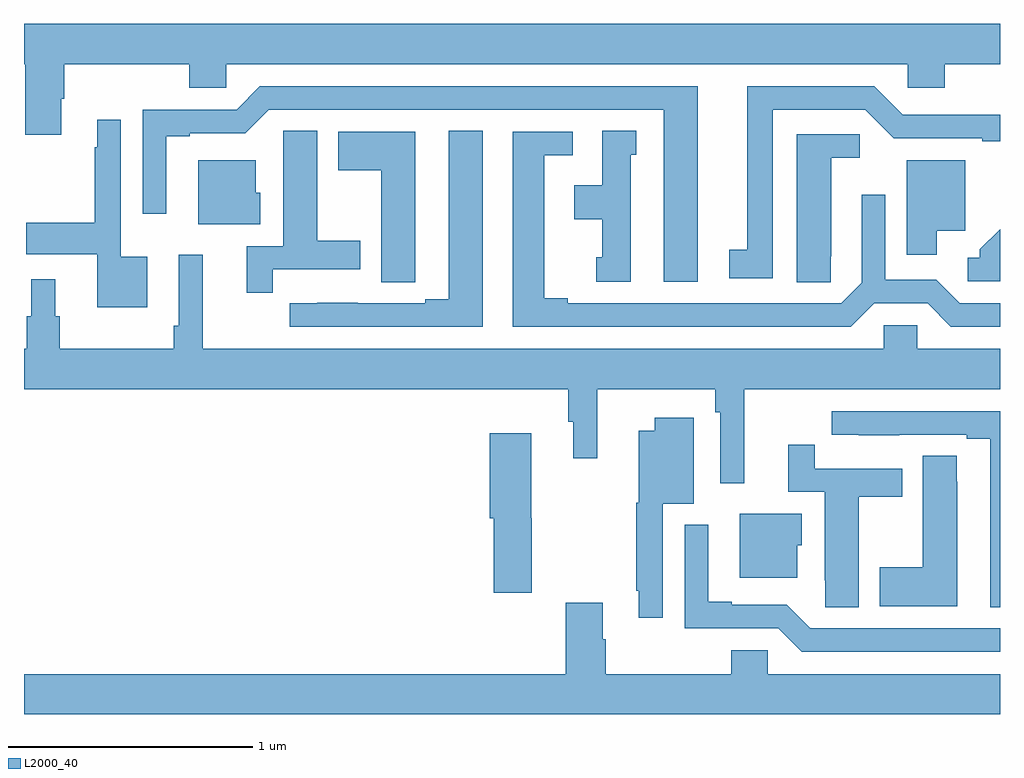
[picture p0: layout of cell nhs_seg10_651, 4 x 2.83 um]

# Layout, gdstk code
import gdstk
lib = gdstk.Library(unit=1e-6, precision=1e-09)
def P(c, l, *ps):  # polygons
    for p in ps: c.add(gdstk.Polygon(p, *l))
L2000_40 = (2000, 40)

nhs_seg10_651 = lib.new_cell('nhs_seg10_651')
P(nhs_seg10_651, L2000_40, [(143.152,1284.19),(143.165,1284.19),(143.165,1284.332),(143.678,1284.332),(143.678,1284.234),(143.829,1284.234),(143.829,1284.332),(146.622,1284.332),(146.622,1284.234),(146.774,1284.234),(146.774,1284.332),(147,1284.332),(147,1284.496),(143,1284.496),(143,1284.332),(143.005,1284.332),(143.005,1284.042),(143.152,1284.042)],
  [(145.762,1284.24),(143.967,1284.24),(143.871,1284.144),(143.487,1284.144),(143.487,1283.718),(143.584,1283.718),(143.584,1284.036),(143.68,1284.036),(143.68,1284.048),(143.907,1284.048),(144.003,1284.144),(145.622,1284.144),(145.622,1283.439),(145.762,1283.439)],
  [(146.068,1284.144),(146.448,1284.144),(146.565,1284.027),(146.927,1284.027),(146.927,1284.015),(147,1284.015),(147,1284.125),(146.857,1284.125),(146.857,1284.123),(146.601,1284.123),(146.484,1284.24),(145.964,1284.24),(145.964,1283.57),(145.89,1283.57),(145.89,1283.454),(146.068,1283.454)],
  [(143.506,1283.542),(143.397,1283.542),(143.397,1284.103),(143.3,1284.103),(143.3,1283.99),(143.289,1283.99),(143.289,1283.682),(143.01,1283.682),(143.01,1283.552),(143.3,1283.552),(143.3,1283.336),(143.506,1283.336)],
  [(145.486,1283.961),(145.51,1283.961),(145.51,1284.059),(145.37,1284.059),(145.37,1283.836),(145.256,1283.836),(145.256,1283.696),(145.37,1283.696),(145.37,1283.541),(145.346,1283.541),(145.346,1283.439),(145.486,1283.439)],
  [(144.88,1284.059),(144.74,1284.059),(144.74,1283.367),(144.644,1283.367),(144.644,1283.352),(144.368,1283.352),(144.368,1283.353),(144.202,1283.353),(144.202,1283.352),(144.09,1283.352),(144.09,1283.256),(144.88,1283.256)],
  [(144.02,1283.49),(144.379,1283.49),(144.379,1283.607),(144.202,1283.607),(144.202,1284.059),(144.063,1284.059),(144.063,1283.948),(144.062,1283.948),(144.062,1283.586),(143.912,1283.586),(143.912,1283.394),(144.02,1283.394)],
  [(144.603,1283.545),(144.604,1283.545),(144.604,1284.055),(144.287,1284.055),(144.287,1283.896),(144.464,1283.896),(144.464,1283.437),(144.603,1283.437)],
  [(146.485,1283.352),(146.703,1283.352),(146.799,1283.256),(147,1283.256),(147,1283.352),(146.835,1283.352),(146.739,1283.448),(146.529,1283.448),(146.529,1283.797),(146.433,1283.797),(146.433,1283.436),(146.349,1283.352),(145.228,1283.352),(145.228,1283.372),(145.132,1283.372),(145.132,1283.958),(145.249,1283.958),(145.249,1284.054),(145.004,1284.054),(145.004,1283.256),(146.389,1283.256)],
  [(146.307,1283.545),(146.308,1283.545),(146.308,1283.948),(146.425,1283.948),(146.425,1284.045),(146.168,1284.045),(146.168,1283.437),(146.307,1283.437)],
  [(146.74,1283.648),(146.857,1283.648),(146.857,1283.938),(146.618,1283.938),(146.618,1283.55),(146.74,1283.55)],
  [(143.968,1283.805),(143.95,1283.805),(143.95,1283.938),(143.714,1283.938),(143.714,1283.675),(143.968,1283.675)],
  [(147,1283.655),(146.918,1283.573),(146.918,1283.538),(146.868,1283.538),(146.868,1283.442),(147,1283.442)],
  [(145.952,1283),(147,1283),(147,1283.164),(146.661,1283.164),(146.661,1283.262),(146.523,1283.262),(146.523,1283.164),(143.732,1283.164),(143.732,1283.551),(143.634,1283.551),(143.634,1283.26),(143.614,1283.26),(143.614,1283.164),(143.147,1283.164),(143.147,1283.298),(143.128,1283.298),(143.128,1283.449),(143.03,1283.449),(143.03,1283.298),(143.011,1283.298),(143.011,1283.164),(143,1283.164),(143,1283),(145.231,1283),(145.231,1282.866),(145.25,1282.866),(145.25,1282.716),(145.35,1282.716),(145.35,1283),(145.834,1283),(145.834,1282.904),(145.854,1282.904),(145.854,1282.614),(145.952,1282.614)],
  [(147,1282.908),(146.31,1282.908),(146.31,1282.812),(146.422,1282.812),(146.422,1282.811),(146.588,1282.811),(146.588,1282.812),(146.864,1282.812),(146.864,1282.797),(146.96,1282.797),(146.96,1282.105),(147,1282.105)],
  [(145.617,1282.529),(145.744,1282.529),(145.744,1282.882),(145.586,1282.882),(145.586,1282.828),(145.52,1282.828),(145.52,1282.533),(145.509,1282.533),(145.509,1282.174),(145.52,1282.174),(145.52,1282.062),(145.617,1282.062)],
  [(145.08,1282.47),(145.078,1282.47),(145.078,1282.819),(144.908,1282.819),(144.908,1282.47),(144.926,1282.47),(144.926,1282.164),(145.08,1282.164)],
  [(146.422,1282.558),(146.599,1282.558),(146.599,1282.674),(146.24,1282.674),(146.24,1282.771),(146.132,1282.771),(146.132,1282.578),(146.282,1282.578),(146.282,1282.216),(146.283,1282.216),(146.283,1282.105),(146.422,1282.105)],
  [(146.824,1282.619),(146.823,1282.619),(146.823,1282.727),(146.684,1282.727),(146.684,1282.269),(146.507,1282.269),(146.507,1282.109),(146.824,1282.109)],
  [(146.17,1282.359),(146.188,1282.359),(146.188,1282.489),(145.934,1282.489),(145.934,1282.226),(146.17,1282.226)],
  [(147,1282.02),(146.223,1282.02),(146.127,1282.116),(145.9,1282.116),(145.9,1282.129),(145.804,1282.129),(145.804,1282.444),(145.707,1282.444),(145.707,1282.02),(146.091,1282.02),(146.187,1281.924),(147,1281.924)],
  [(147,1281.832),(146.049,1281.832),(146.049,1281.93),(145.898,1281.93),(145.898,1281.832),(145.385,1281.832),(145.385,1281.974),(145.372,1281.974),(145.372,1282.123),(145.22,1282.123),(145.22,1281.832),(143,1281.832),(143,1281.668),(147,1281.668)])

lib.write_gds('nhs_seg10_651.gds')
